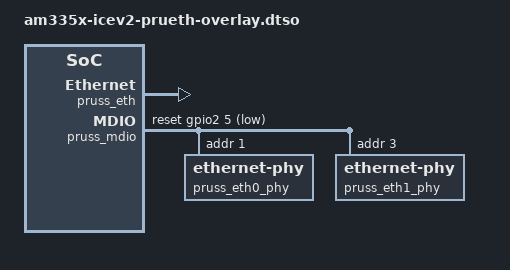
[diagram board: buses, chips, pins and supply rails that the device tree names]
// SPDX-License-Identifier: GPL-2.0
/*
 * DT overlay for IDK AM335x
 *
 * Copyright (C) 2018 Texas Instruments Incorporated - http://www.ti.com/
 */

/*
 * AM335x ICE V2 board
 * http://www.ti.com/tool/tmdsice3359
 */

/dts-v1/;
/plugin/;

#include <dt-bindings/bus/ti-sysc.h>
#include <dt-bindings/gpio/gpio.h>
#include <dt-bindings/pinctrl/am33xx.h>
#include <dt-bindings/clock/am3.h>

&{/} {
        /* Dual-MAC Ethernet application node on PRU-ICSS */
        pruss_eth: pruss-eth {
                compatible = "ti,am3359-prueth";
                ti,prus = <&pru0>, <&pru1>;
                sram = <&ocmcram>;
                ti,mii-rt = <&pruss_mii_rt>;
                ti,iep = <&pruss_iep>;
                ti,ecap = <&pruss_ecap>;
                interrupts = <20 2 2>, <21 3 3>;
                interrupt-names = "rx_hp", "rx_lp";
                interrupt-parent = <&pruss_intc>;

                pinctrl-0 = <&pruss_eth_default>;
                pinctrl-names = "default";

                ethernet-ports {
                        #address-cells = <1>;
                        #size-cells = <0>;
                        pruss_emac0: ethernet-port@0 {
                                reg = <0>;
                                phy-handle = <&pruss_eth0_phy>;
                                phy-mode = "mii";
                                interrupts = <20 2 2>, <26 6 6>, <23 6 6>;
                                interrupt-names = "rx", "emac_ptp_tx",
                                                  "hsr_ptp_tx";
                                /* Filled in by bootloader */
                                local-mac-address = [00 00 00 00 00 00];
                        };

                        pruss_emac1: ethernet-port@1 {
                                reg = <1>;
                                phy-handle = <&pruss_eth1_phy>;
                                phy-mode = "mii";
                                interrupts = <21 3 3>, <27 9 7>, <24 9 7>;
                                interrupt-names = "rx", "emac_ptp_tx",
                                                  "hsr_ptp_tx";
                                /* Filled in by bootloader */
                                local-mac-address = [00 00 00 00 00 00];
                        };
                };
        };
};

&am33xx_pinmux {
	/* MDIO node for PRU-ICSS */
        pruss_mdio_default: pruss_mdio_default {
                pinctrl-single,pins = <
                        /* gpmc_clk.pr1_mdio_mdclk */
                        AM33XX_PADCONF(0x88c, PIN_OUTPUT, MUX_MODE5)
                        /* gpmc_csn3.pr1_mdio_data */
                        AM33XX_PADCONF(0x888, PIN_INPUT, MUX_MODE5)
                        /* gpmc_ben0_cle.gpio2_5 */
                        AM33XX_PADCONF(0x89c, PIN_INPUT_PULLUP, MUX_MODE7)
                        /* disable CPSW MDIO */
                        /* mdio_data.gpio0_0 */
                        AM33XX_PADCONF(0x948, PIN_INPUT_PULLUP, MUX_MODE7)
                        /* mdio_clk.gpio0_1 */
                        AM33XX_PADCONF(0x94c, PIN_INPUT_PULLUP, MUX_MODE7)
                >;
        };

	/* Pinmux configuration for PRU-ICSS */
        pruss_eth_default: pruss_eth_default {
                pinctrl-single,pins = <
                        /* dss_data0.pr1_mii_mt0_clk */
                        AM33XX_PADCONF(0x8a0, PIN_INPUT,   MUX_MODE2)
                        /* dss_data5.pr1_mii0_txd0 */
                        AM33XX_PADCONF(0x8b4, PIN_OUTPUT,  MUX_MODE2)
                        /* dss_data4.pr1_mii0_txd1 */
                        AM33XX_PADCONF(0x8b0, PIN_OUTPUT,  MUX_MODE2)
                        /* dss_data3.pr1_mii0_txd2 */
                        AM33XX_PADCONF(0x8ac, PIN_OUTPUT,  MUX_MODE2)
                        /* dss_data2.pr1_mii0_txd3 */
                        AM33XX_PADCONF(0x8a8, PIN_OUTPUT,  MUX_MODE2)
                        /* dss_data11.pr1_mii0_rxd0 */
                        AM33XX_PADCONF(0x8cc, PIN_INPUT,   MUX_MODE5)
                        /* dss_data10.pr1_mii0_rxd1 */
                        AM33XX_PADCONF(0x8c8, PIN_INPUT,   MUX_MODE5)
                        /* dss_data9.pr1_mii0_rxd2 */
                        AM33XX_PADCONF(0x8c4, PIN_INPUT,   MUX_MODE5)
                        /* dss_data8.pr1_mii0_rxd3 */
                        AM33XX_PADCONF(0x8c0, PIN_INPUT,   MUX_MODE5)
                        /* dss_data1.pr1_mii0_txen */
                        AM33XX_PADCONF(0x8a4, PIN_OUTPUT,  MUX_MODE2)
                        /* dss_data14.pr1_mii_mr0_clk */
                        AM33XX_PADCONF(0x8d8, PIN_INPUT,   MUX_MODE5)
                        /* dss_data15.pr1_mii0_rxdv */
                        AM33XX_PADCONF(0x8dc, PIN_INPUT,   MUX_MODE5)
                        /* dss_data13.pr1_mii0_rxer */
                        AM33XX_PADCONF(0x8d4, PIN_INPUT,   MUX_MODE5)
                        /* dss_data12.pr1_mii0_rxlink */
                        AM33XX_PADCONF(0x8d0, PIN_INPUT,   MUX_MODE5)
                        /* dss_pclk.pr1_mii0_crs */
                        AM33XX_PADCONF(0x8e8, PIN_INPUT,   MUX_MODE2)

                        /* gpmc_a0.pr1_mii_mt1_clk */
                        AM33XX_PADCONF(0x840, PIN_INPUT,   MUX_MODE5)
                        /* gpmc_a4.pr1_mii1_txd0 */
                        AM33XX_PADCONF(0x850, PIN_OUTPUT,  MUX_MODE5)
                        /* gpmc_a3.pr1_mii1_txd1 */
                        AM33XX_PADCONF(0x84c, PIN_OUTPUT,  MUX_MODE5)
                        /* gpmc_a2.pr1_mii1_txd2 */
                        AM33XX_PADCONF(0x848, PIN_OUTPUT,  MUX_MODE5)
                        /* gpmc_a1.pr1_mii1_txd3 */
                        AM33XX_PADCONF(0x844, PIN_OUTPUT,  MUX_MODE5)
                        /* gpmc_a8.pr1_mii1_rxd0 */
                        AM33XX_PADCONF(0x860, PIN_INPUT,   MUX_MODE5)
                        /* gpmc_a7.pr1_mii1_rxd1 */
                        AM33XX_PADCONF(0x85c, PIN_INPUT,   MUX_MODE5)
                        /* gpmc_a6.pr1_mii1_rxd2 */
                        AM33XX_PADCONF(0x858, PIN_INPUT,   MUX_MODE5)
                        /* gpmc_a5.pr1_mii1_rxd3 */
                        AM33XX_PADCONF(0x854, PIN_INPUT,   MUX_MODE5)
                        /* gpmc_wpn.pr1_mii1_txen */
                        AM33XX_PADCONF(0x874, PIN_OUTPUT,  MUX_MODE5)
                        /* gpmc_a9.pr1_mii_mr1_clk */
                        AM33XX_PADCONF(0x864, PIN_INPUT,   MUX_MODE5)
                        /* gpmc_a10.pr1_mii1_rxdv */
                        AM33XX_PADCONF(0x868, PIN_INPUT,   MUX_MODE5)
                        /* gpmc_a11.pr1_mii1_rxer */
                        AM33XX_PADCONF(0x86c, PIN_INPUT,   MUX_MODE5)
                        /* gpmc_ben1.pr1_mii1_rxlink */
                        AM33XX_PADCONF(0x878, PIN_INPUT,   MUX_MODE5)
                        /* lcd_ac_bias_en.pr1_mii1_crs */
                        AM33XX_PADCONF(0x8ec, PIN_INPUT,   MUX_MODE2)
                        /* gpmc_wait0.pr1_mii1_col */
                        AM33XX_PADCONF(0x870, PIN_INPUT,   MUX_MODE5)
                >;
        };
};

&gpio3 {
        mux-mii-hog {
                /* ETH1 mux: Low for MII-PRU, high for RMII-CPSW */
                output-low;
        };
};

/*
 * Disable CPSW switch node and
 * MDIO configuration to prevent
 * conflict with PRU-ICSS
 */
&mac_sw {
        status = "disable";
};

&davinci_mdio_sw {
        status = "disable";
};

/* PRU-ICSS MDIO configuration */
&pruss_mdio {
        pinctrl-0 = <&pruss_mdio_default>;
        pinctrl-names = "default";
        reset-gpios = <&gpio2 5 GPIO_ACTIVE_LOW>;
        reset-delay-us = <2>; /* PHY datasheet states 1uS min */
        status = "okay";
        #address-cells = <1>;
        #size-cells = <0>;

        pruss_eth0_phy: ethernet-phy@1 {
                 reg = <1>;
        };

        pruss_eth1_phy: ethernet-phy@3 {
                 reg = <3>;
        };
};
